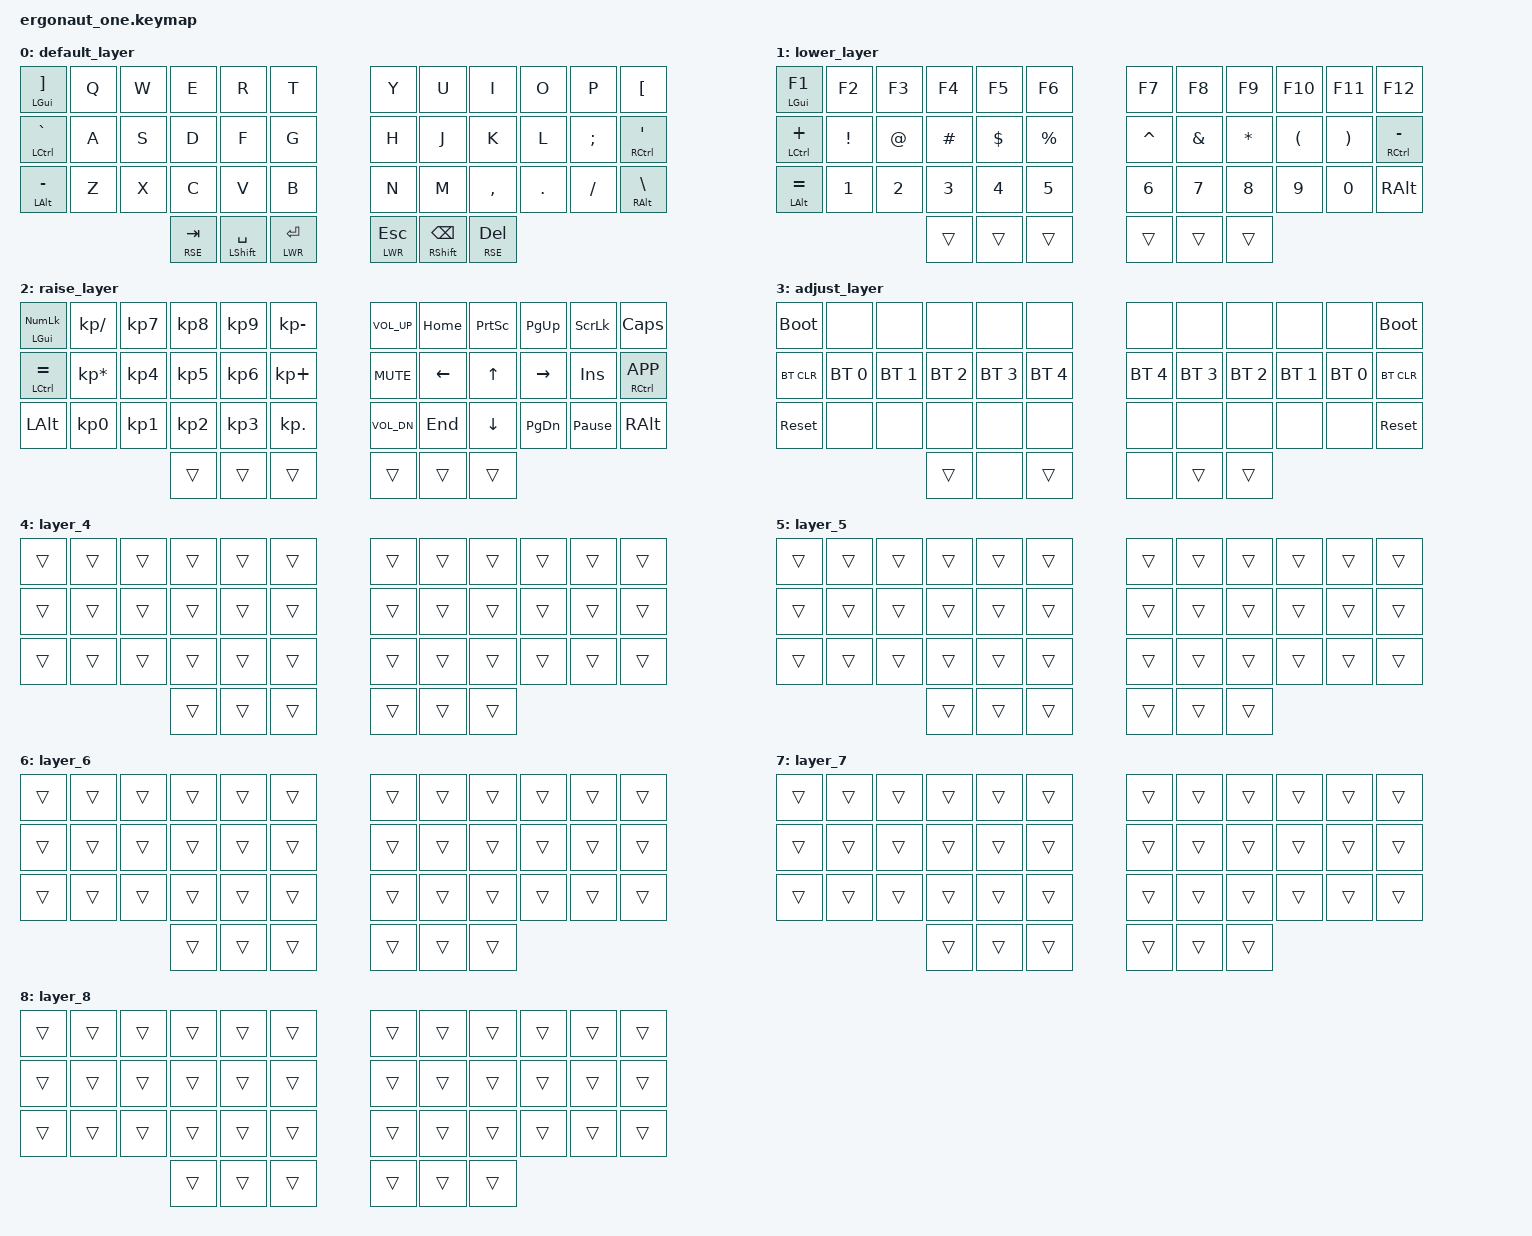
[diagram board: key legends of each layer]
#include <behaviors.dtsi>
#include <dt-bindings/zmk/bt.h>
#include <dt-bindings/zmk/keys.h>

#define DEF 0
#define LWR 1
#define RSE 2
#define ADJ 3

&lt { quick-tap-ms = <200>; };

&mt { quick-tap-ms = <200>; };

/ {
    conditional_layers {
        compatible = "zmk,conditional-layers";

        tri-layer {
            if-layers = <1 2>;
            then-layer = <3>;
        };
    };

    keymap {
        compatible = "zmk,keymap";

        default_layer {
            bindings = <
&mt LGUI RBKT    &kp Q  &kp W  &kp E        &kp R            &kp T        &kp Y        &kp U           &kp I        &kp O    &kp P     &kp LBKT
&mt LCTRL GRAVE  &kp A  &kp S  &kp D        &kp F            &kp G        &kp H        &kp J           &kp K        &kp L    &kp SEMI  &mt RCTRL SQT
&mt LALT MINUS   &kp Z  &kp X  &kp C        &kp V            &kp B        &kp N        &kp M           &kp COMMA    &kp DOT  &kp FSLH  &mt RALT BSLH
                               &lt RSE TAB  &mt LSHFT SPACE  &lt LWR RET  &lt LWR ESC  &mt RSHFT BSPC  &lt RSE DEL
            >;
        };

        lower_layer {
            bindings = <
&mt LGUI F1     &kp F2    &kp F3  &kp F4    &kp F5    &kp F6     &kp F7     &kp F8    &kp F9    &kp F10   &kp F11   &kp F12
&mt LCTRL PLUS  &kp EXCL  &kp AT  &kp HASH  &kp DLLR  &kp PRCNT  &kp CARET  &kp AMPS  &kp STAR  &kp LPAR  &kp RPAR  &mt RCTRL MINUS
&mt LALT EQUAL  &kp N1    &kp N2  &kp N3    &kp N4    &kp N5     &kp N6     &kp N7    &kp N8    &kp N9    &kp N0    &kp RALT
                                  &trans    &trans    &trans     &trans     &trans    &trans
            >;
        };

        raise_layer {
            bindings = <
&mt LGUI KP_NUM  &kp KP_SLASH     &kp KP_N7  &kp KP_N8  &kp KP_N9  &kp KP_MINUS  &kp C_VOL_UP  &kp HOME  &kp PSCRN  &kp PG_UP  &kp SLCK         &kp CLCK
&mt LCTRL EQUAL  &kp KP_MULTIPLY  &kp KP_N4  &kp KP_N5  &kp KP_N6  &kp KP_PLUS   &kp C_MUTE    &kp LEFT  &kp UP     &kp RIGHT  &kp INS          &mt RCTRL K_APP
&kp LALT         &kp KP_N0        &kp KP_N1  &kp KP_N2  &kp KP_N3  &kp KP_DOT    &kp C_VOL_DN  &kp END   &kp DOWN   &kp PG_DN  &kp PAUSE_BREAK  &kp RALT
                                             &trans     &trans     &trans        &trans        &trans    &trans
            >;
        };

        adjust_layer {
            bindings = <
&bootloader  &none         &none         &none         &none         &none         &none         &none         &none         &none         &none         &bootloader
&bt BT_CLR   &bt BT_SEL 0  &bt BT_SEL 1  &bt BT_SEL 2  &bt BT_SEL 3  &bt BT_SEL 4  &bt BT_SEL 4  &bt BT_SEL 3  &bt BT_SEL 2  &bt BT_SEL 1  &bt BT_SEL 0  &bt BT_CLR
&sys_reset   &none         &none         &none         &none         &none         &none         &none         &none         &none         &none         &sys_reset
                                         &trans        &none         &trans        &none         &trans        &trans
            >;
        };

        layer_4 {
            bindings = <
&trans  &trans  &trans  &trans  &trans  &trans  &trans  &trans  &trans  &trans  &trans  &trans
&trans  &trans  &trans  &trans  &trans  &trans  &trans  &trans  &trans  &trans  &trans  &trans
&trans  &trans  &trans  &trans  &trans  &trans  &trans  &trans  &trans  &trans  &trans  &trans
                        &trans  &trans  &trans  &trans  &trans  &trans
            >;
        };

        layer_5 {
            bindings = <
&trans  &trans  &trans  &trans  &trans  &trans  &trans  &trans  &trans  &trans  &trans  &trans
&trans  &trans  &trans  &trans  &trans  &trans  &trans  &trans  &trans  &trans  &trans  &trans
&trans  &trans  &trans  &trans  &trans  &trans  &trans  &trans  &trans  &trans  &trans  &trans
                        &trans  &trans  &trans  &trans  &trans  &trans
            >;
        };

        layer_6 {
            bindings = <
&trans  &trans  &trans  &trans  &trans  &trans  &trans  &trans  &trans  &trans  &trans  &trans
&trans  &trans  &trans  &trans  &trans  &trans  &trans  &trans  &trans  &trans  &trans  &trans
&trans  &trans  &trans  &trans  &trans  &trans  &trans  &trans  &trans  &trans  &trans  &trans
                        &trans  &trans  &trans  &trans  &trans  &trans
            >;
        };

        layer_7 {
            bindings = <
&trans  &trans  &trans  &trans  &trans  &trans  &trans  &trans  &trans  &trans  &trans  &trans
&trans  &trans  &trans  &trans  &trans  &trans  &trans  &trans  &trans  &trans  &trans  &trans
&trans  &trans  &trans  &trans  &trans  &trans  &trans  &trans  &trans  &trans  &trans  &trans
                        &trans  &trans  &trans  &trans  &trans  &trans
            >;
        };

        layer_8 {
            bindings = <
&trans  &trans  &trans  &trans  &trans  &trans  &trans  &trans  &trans  &trans  &trans  &trans
&trans  &trans  &trans  &trans  &trans  &trans  &trans  &trans  &trans  &trans  &trans  &trans
&trans  &trans  &trans  &trans  &trans  &trans  &trans  &trans  &trans  &trans  &trans  &trans
                        &trans  &trans  &trans  &trans  &trans  &trans
            >;
        };
    };
};
